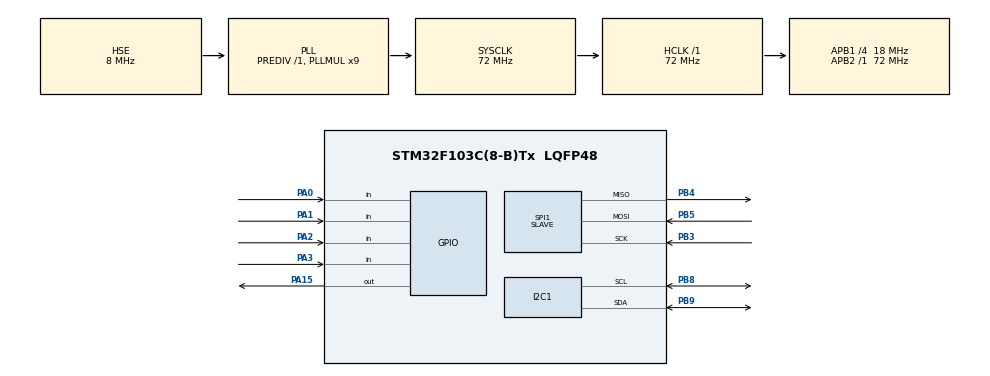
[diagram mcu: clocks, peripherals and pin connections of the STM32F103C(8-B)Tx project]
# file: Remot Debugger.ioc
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Dma.Request0=SPI1_RX
Dma.SPI1_RX.0.Direction=DMA_PERIPH_TO_MEMORY
Dma.SPI1_RX.0.Instance=DMA1_Channel2
Dma.SPI1_RX.0.MemDataAlignment=DMA_MDATAALIGN_BYTE
Dma.SPI1_RX.0.MemInc=DMA_MINC_ENABLE
Dma.SPI1_RX.0.Mode=DMA_CIRCULAR
Dma.SPI1_RX.0.PeriphDataAlignment=DMA_PDATAALIGN_BYTE
Dma.SPI1_RX.0.PeriphInc=DMA_PINC_DISABLE
Dma.SPI1_RX.0.Priority=DMA_PRIORITY_VERY_HIGH
I2C1.I2C_Mode=I2C_Standard
Mcu.Family=STM32F1
Mcu.Name=STM32F103C(8-B)Tx
Mcu.Package=LQFP48
NVIC.DMA1_Channel2_IRQn=true\:0\:0\:false\:false\:true\:false\:true\:true
NVIC.PriorityGroup=NVIC_PRIORITYGROUP_4
NVIC.SPI1_IRQn=true\:0\:0\:false\:false\:true\:true\:true\:true
PA0-WKUP.GPIO_PuPd=GPIO_PULLUP
PA0-WKUP.Signal=GPIO_Input
PA1.GPIO_PuPd=GPIO_PULLUP
PA1.Signal=GPIO_Input
PA13.Mode=Serial_Wire
PA13.Signal=SYS_JTMS-SWDIO
PA14.Mode=Serial_Wire
PA14.Signal=SYS_JTCK-SWCLK
PA15.GPIO_PuPd=GPIO_PULLUP
PA15.Signal=GPIO_Output
PA2.GPIO_PuPd=GPIO_PULLUP
PA2.Signal=GPIO_Input
PA3.GPIO_PuPd=GPIO_PULLUP
PA3.Signal=GPIO_Input
PB3.Mode=Full_Duplex_Slave
PB3.Signal=SPI1_SCK
PB4.Mode=Full_Duplex_Slave
PB4.Signal=SPI1_MISO
PB5.Mode=Full_Duplex_Slave
PB5.Signal=SPI1_MOSI
PB8.Mode=I2C
PB8.Signal=I2C1_SCL
PB9.Mode=I2C
PB9.Signal=I2C1_SDA
PD0-OSC_IN.Mode=HSE-External-Oscillator
PD0-OSC_IN.Signal=RCC_OSC_IN
PD1-OSC_OUT.Mode=HSE-External-Oscillator
PD1-OSC_OUT.Signal=RCC_OSC_OUT
ProjectManager.HeapSize=0x200
ProjectManager.StackSize=0x400
ProjectManager.TargetToolchain=MDK-ARM V5.32
RCC.AHBFreq_Value=72000000
RCC.APB1CLKDivider=RCC_HCLK_DIV4
RCC.APB1Freq_Value=18000000
RCC.APB1TimFreq_Value=36000000
RCC.APB2Freq_Value=72000000
RCC.APB2TimFreq_Value=72000000
RCC.HCLKFreq_Value=72000000
RCC.PLLMUL=RCC_PLL_MUL9
RCC.PLLSourceVirtual=RCC_PLLSOURCE_HSE
RCC.SYSCLKFreq_VALUE=72000000
RCC.SYSCLKSource=RCC_SYSCLKSOURCE_PLLCLK
RCC.USBFreq_Value=72000000
SPI1.Direction=SPI_DIRECTION_2LINES
SPI1.Mode=SPI_MODE_SLAVE
SPI1.VirtualType=VM_SLAVE
board=custom

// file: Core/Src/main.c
/* USER CODE BEGIN Header */
/**
 ******************************************************************************
 * @file           : main.c
 * @brief          : Main program body
 ******************************************************************************
 * @attention
 *
 * Copyright (c) 2024 STMicroelectronics.
 * All rights reserved.
 *
 * This software is licensed under terms that can be found in the LICENSE file
 * in the root directory of this software component.
 * If no LICENSE file comes with this software, it is provided AS-IS.
 *
 ******************************************************************************
 */
/* USER CODE END Header */
#include "main.h"

/* USER CODE BEGIN Includes */
#include "Komunikasi_remot.h"
#include "ee.h"
#include "i2c-lcd.h"
#include <stdio.h>
/* USER CODE END Includes */

/* USER CODE BEGIN PD */

#define MODE_EEPROM 0
#define MODE_REALTIME 1

// #define ADD_EEPROM 0x0801F804
#define ADD_EEPROM_2 0x0801F400
#define ADD_EEPROM_3 0x0801FC00

// Define Port dan Pin Button
#define PORT_BUTTON_PLUS GPIOA
#define PIN_BUTTON_PLUS GPIO_PIN_1
#define PORT_BUTTON_MODE GPIOA
#define PIN_BUTTON_MODE GPIO_PIN_0
#define PORT_BUTTON_CHANGE_CATEGORY GPIOA
#define PIN_BUTTON_CHANGE_CATEGORY GPIO_PIN_2
#define PORT_BUTTON_WRITE_EE GPIOA
#define PIN_BUTTON_WRITE_EE GPIO_PIN_3

HAL_StatusTypeDef status;

// Inisiasi Page
int kategori = 1, page_sensor = 1, page_pos_kaki = 1, page_angle_kaki = 1, mode = MODE_REALTIME;

int i = 0;

handler_angle_kaki angle_kaki;
handler_pos_kaki pos_kaki;
handler_ping ping;
handler_room_step room_step;
handler_gyro gyro;

// uint32_t angle_saved_array[18];

uint8_t angle_saved_array_8bit[72];
uint8_t jarak_gyro_saved_8bit[72];
uint32_t jarak_gyro_array[18];

int count=0;
/* USER CODE END PD */

I2C_HandleTypeDef hi2c1;

SPI_HandleTypeDef hspi1;
DMA_HandleTypeDef hdma_spi1_rx;

void SystemClock_Config(void);
static void MX_GPIO_Init(void);
static void MX_DMA_Init(void);
static void MX_SPI1_Init(void);
static void MX_I2C1_Init(void);
/* USER CODE BEGIN PFP */
void writeToEEPROM()
{

	uint32_t angle_kaki_array[18];

	angle_kaki_array[0] = angle_kaki.coxa_fr;
	angle_kaki_array[1] = angle_kaki.femur_fr;
	angle_kaki_array[2] = angle_kaki.tibia_fr;

	angle_kaki_array[3] = angle_kaki.coxa_mr;
	angle_kaki_array[4] = angle_kaki.femur_mr;
	angle_kaki_array[5] = angle_kaki.tibia_mr;

	angle_kaki_array[6] = angle_kaki.coxa_br;
	angle_kaki_array[7] = angle_kaki.femur_br;
	angle_kaki_array[8] = angle_kaki.tibia_br;

	angle_kaki_array[9] = angle_kaki.coxa_bl;
	angle_kaki_array[10] = angle_kaki.femur_bl;
	angle_kaki_array[11] = angle_kaki.tibia_bl;

	angle_kaki_array[12] = angle_kaki.coxa_ml;
	angle_kaki_array[13] = angle_kaki.femur_ml;
	angle_kaki_array[14] = angle_kaki.tibia_ml;

	angle_kaki_array[15] = angle_kaki.coxa_fl;
	angle_kaki_array[16] = angle_kaki.femur_fl;
	angle_kaki_array[17] = angle_kaki.tibia_fl;

	jarak_gyro_array[0] = (uint64_t)ping.ping_bb;
	jarak_gyro_array[1] = ((uint64_t)ping.ping_bb >> 32) & 0xffffffff;
	jarak_gyro_array[2] = ping.ping_bl & 0xffffffff;
	jarak_gyro_array[3] = (ping.ping_bl >> 32) & 0xffffffff;
	jarak_gyro_array[4] = ping.ping_br & 0xffffffff;
	jarak_gyro_array[5] = (ping.ping_br >> 32) & 0xffffffff;
	jarak_gyro_array[6] = ping.ping_ff & 0xffffffff;
	jarak_gyro_array[7] = (ping.ping_ff >> 32) & 0xffffffff;
	jarak_gyro_array[8] = ping.ping_fl & 0xffffffff;
	jarak_gyro_array[9] = (ping.ping_fl >> 32) & 0xffffffff;
	jarak_gyro_array[10] = ping.ping_fr & 0xffffffff;
	jarak_gyro_array[11] = (ping.ping_fr >> 32) & 0xffffffff;

	jarak_gyro_array[12] = gyro.pitch & 0xffffffff;
	jarak_gyro_array[13] = (gyro.pitch >> 32) & 0xffffffff;
	jarak_gyro_array[14] = gyro.roll & 0xffffffff;
	jarak_gyro_array[15] = (gyro.roll >> 32) & 0xffffffff;
	jarak_gyro_array[16] = gyro.yaw & 0xffffffff;
	jarak_gyro_array[17] = (gyro.yaw >> 32) & 0xffffffff;

	Flash_Write_Data(ADD_EEPROM_2, (uint32_t *)jarak_gyro_array, 18);

	Flash_Write_Data(ADD_EEPROM_3, (uint32_t *)angle_kaki_array, 18);
}

void readFromEE()
{
	//	Flash_Read_Data(ADD_EEPROM_3, angle_saved_array, 19);
	read_flash_memory(ADD_EEPROM_3, angle_saved_array_8bit, 72);
	read_flash_memory(ADD_EEPROM_2, jarak_gyro_saved_8bit, 72);
}

void displayDataOnLCD()
{

	if (HAL_GPIO_ReadPin(PORT_BUTTON_PLUS, PIN_BUTTON_PLUS) == GPIO_PIN_RESET)
	{ // tombol page +
		switch (kategori)
		{
		case 1:
			page_sensor++;
			if (page_sensor > 2)
			{
				page_sensor = 1;
			}
			break;

		case 2:
			page_pos_kaki++;
			if (page_pos_kaki > 6)
			{
				page_pos_kaki = 1;
			}
			break;

		case 4:
			page_angle_kaki++;
			if (page_angle_kaki > 6)
			{
				page_angle_kaki = 1;
			}
			break;
		}

		HAL_Delay(250);
		lcd_clear();
	}

	else if (HAL_GPIO_ReadPin(PORT_BUTTON_MODE, PIN_BUTTON_MODE) == GPIO_PIN_RESET)
	{ // tombol page -
		lcd_clear();
		if (mode == MODE_REALTIME)
		{
			mode = MODE_EEPROM;
			lcd_put_cur(0, 0);
			lcd_send_string("EEPROM");
		}
		else
		{
			mode = MODE_REALTIME;
			lcd_put_cur(0, 0);
			lcd_send_string("REALTIME");
		}
		HAL_Delay(675);
		lcd_clear();
	}

	else if (HAL_GPIO_ReadPin(PORT_BUTTON_CHANGE_CATEGORY, PIN_BUTTON_CHANGE_CATEGORY) == GPIO_PIN_RESET)
	{
		kategori++;
		if (kategori > 5)
		{
			kategori = 1;
		}
		HAL_Delay(250);
		lcd_clear();
	}

	else if (HAL_GPIO_ReadPin(PORT_BUTTON_WRITE_EE, PIN_BUTTON_WRITE_EE) == GPIO_PIN_RESET)
	{
		writeToEEPROM();
		lcd_clear();
		lcd_put_cur(0, 0);
		lcd_send_string("Data Saved");
		HAL_Delay(500);
		lcd_clear();
		readFromEE();
	}

	switch (kategori)
	{
	case 1:
		switch (page_sensor)
		{
		case 1:
			if (mode == MODE_EEPROM)
			{
				// MEMORY
				lcd_put_cur(0, 0);
				lcd_send_string("FL:");
				char ping_fl_str[15];
				uint64_t fl_saved = ((uint64_t)jarak_gyro_saved_8bit[39] << 56) | ((uint64_t)jarak_gyro_saved_8bit[38] << 48) | ((uint64_t)jarak_gyro_saved_8bit[37] << 40) | ((uint64_t)jarak_gyro_saved_8bit[36] << 32) | (jarak_gyro_saved_8bit[35] << 24) | (jarak_gyro_saved_8bit[34] << 16) | (jarak_gyro_saved_8bit[33] << 8) | jarak_gyro_saved_8bit[32];
				sprintf(ping_fl_str, "%.1f", *((double *)&fl_saved));
				lcd_send_string(ping_fl_str);
				lcd_put_cur(1, 0);
				lcd_send_string("BL:");
				char ping_bl_str[15];
				uint64_t bl_saved = ((uint64_t)jarak_gyro_saved_8bit[15] << 56) | ((uint64_t)jarak_gyro_saved_8bit[14] << 48) | ((uint64_t)jarak_gyro_saved_8bit[13] << 40) | ((uint64_t)jarak_gyro_saved_8bit[12] << 32) | (jarak_gyro_saved_8bit[11] << 24) | (jarak_gyro_saved_8bit[10] << 16) | (jarak_gyro_saved_8bit[9] << 8) | jarak_gyro_saved_8bit[8];
				sprintf(ping_bl_str, "%.1f", *((double *)&bl_saved));
				lcd_send_string(ping_bl_str);
				lcd_put_cur(0, 8);
				lcd_send_string("FR:");
				char ping_fr_str[15];
				uint64_t fr_saved = ((uint64_t)jarak_gyro_saved_8bit[47] << 56) | ((uint64_t)jarak_gyro_saved_8bit[46] << 48) | ((uint64_t)jarak_gyro_saved_8bit[45] << 40) | ((uint64_t)jarak_gyro_saved_8bit[44] << 32) | (jarak_gyro_saved_8bit[43] << 24) | (jarak_gyro_saved_8bit[42] << 16) | (jarak_gyro_saved_8bit[41] << 8) | jarak_gyro_saved_8bit[40];
				sprintf(ping_fr_str, "%.1f", *((double *)&fr_saved));
				lcd_send_string(ping_fr_str);
				lcd_put_cur(1, 8);
				lcd_send_string("BR:");
				char ping_br_str[15];
				uint64_t br_saved = ((uint64_t)jarak_gyro_saved_8bit[23] << 56) | ((uint64_t)jarak_gyro_saved_8bit[22] << 48) | ((uint64_t)jarak_gyro_saved_8bit[21] << 40) | ((uint64_t)jarak_gyro_saved_8bit[20] << 32) | (jarak_gyro_saved_8bit[19] << 24) | (jarak_gyro_saved_8bit[18] << 16) | (jarak_gyro_saved_8bit[17] << 8) | jarak_gyro_saved_8bit[16];
				sprintf(ping_br_str, "%.1f", *((double *)&br_saved));
				lcd_send_string(ping_br_str);
			}
			else
			{
				lcd_put_cur(0, 0);
				lcd_send_string("FL:");
				char ping_fl_str[15];
				sprintf(ping_fl_str, "%.1f", *((double *)&ping.ping_fl));
				lcd_send_string(ping_fl_str);
				lcd_put_cur(1, 0);
				lcd_send_string("BL:");
				char ping_bl_str[15];
				sprintf(ping_bl_str, "%.1f", *((double *)&ping.ping_bl));
				lcd_send_string(ping_bl_str);
				lcd_put_cur(0, 8);
				lcd_send_string("FR:");
				char ping_fr_str[15];
				sprintf(ping_fr_str, "%.1f", *((double *)&ping.ping_fr));
				lcd_send_string(ping_fr_str);
				lcd_put_cur(1, 8);
				lcd_send_string("BR:");
				char ping_br_str[15];
				sprintf(ping_br_str, "%.1f", *((double *)&ping.ping_br));
				lcd_send_string(ping_br_str);
				count++;
			}
			break;

		case 2:
			if (mode == MODE_EEPROM)
			{
				lcd_put_cur(0, 0);
				lcd_send_string("FF:");
				char ping_ff_str[15];
				uint64_t ff_saved = ((uint64_t)jarak_gyro_saved_8bit[31] << 56) | ((uint64_t)jarak_gyro_saved_8bit[30] << 48) | ((uint64_t)jarak_gyro_saved_8bit[29] << 40) | ((uint64_t)jarak_gyro_saved_8bit[28] << 32) | (jarak_gyro_saved_8bit[27] << 24) | (jarak_gyro_saved_8bit[26] << 16) | (jarak_gyro_saved_8bit[25] << 8) | jarak_gyro_saved_8bit[24];
				sprintf(ping_ff_str, "%.1f", *((double *)&ff_saved));
				lcd_send_string(ping_ff_str);
				lcd_put_cur(1, 0);
				lcd_send_string("BB:");
				char ping_bb_str[15];
				uint64_t bb_saved = ((uint64_t)jarak_gyro_saved_8bit[7] << 56) | ((uint64_t)jarak_gyro_saved_8bit[6] << 48) | ((uint64_t)jarak_gyro_saved_8bit[5] << 40) | ((uint64_t)jarak_gyro_saved_8bit[4] << 32) | (jarak_gyro_saved_8bit[3] << 24) | (jarak_gyro_saved_8bit[2] << 16) | (jarak_gyro_saved_8bit[1] << 8) | jarak_gyro_saved_8bit[0];
				sprintf(ping_bb_str, "%.1f", *((double *)&bb_saved));
				lcd_send_string(ping_bb_str);
			}
			else
			{
				lcd_put_cur(0, 0);
				lcd_send_string("FF:");
				char ping_ff_str[15];
				sprintf(ping_ff_str, "%.1f", *((double *)&ping.ping_ff));
				lcd_send_string(ping_ff_str);
				lcd_put_cur(1, 0);
				lcd_send_string("BB:");
				char ping_bb_str[15];
				sprintf(ping_bb_str, "%.1f", *((double *)&ping.ping_bb));
				lcd_send_string(ping_bb_str);
			}

			break;
		}
		break;

	case 2:
		switch (page_pos_kaki)
		{
		case 1:
			lcd_put_cur(0, 0);
			lcd_send_string("FR");
			lcd_put_cur(0, 8);
			lcd_send_string("X:");
			char kaki_fr_x_str[20];
			sprintf(kaki_fr_x_str, "%.1f", *((double *)&pos_kaki.x_fr));
			lcd_send_string(kaki_fr_x_str);
			lcd_put_cur(1, 0);
			lcd_send_string("Y:");
			char kaki_fr_y_str[20];
			sprintf(kaki_fr_y_str, "%.1f", *((double *)&pos_kaki.y_fr));
			lcd_send_string(kaki_fr_y_str);
			lcd_put_cur(1, 8);
			lcd_send_string("Z:");
			char kaki_fr_z_str[20];
			sprintf(kaki_fr_z_str, "%.1f", *((double *)&pos_kaki.z_fr));
			lcd_send_string(kaki_fr_z_str);
			break;
		case 2:
			lcd_put_cur(0, 0);
			lcd_send_string("MR");
			lcd_put_cur(0, 8);
			lcd_send_string("X:");
			char kaki_mr_x_str[20];
			sprintf(kaki_mr_x_str, "%.1f", *((double *)&pos_kaki.x_mr));
			lcd_send_string(kaki_mr_x_str);
			lcd_put_cur(1, 0);
			lcd_send_string("Y:");
			char kaki_mr_y_str[20];
			sprintf(kaki_mr_y_str, "%.1f", *((double *)&pos_kaki.y_mr));
			lcd_send_string(kaki_mr_y_str);
			lcd_put_cur(1, 8);
			lcd_send_string("Z:");
			char kaki_mr_z_str[20];
			sprintf(kaki_mr_z_str, "%.1f", *((double *)&pos_kaki.z_mr));
			lcd_send_string(kaki_mr_z_str);
			break;
		case 3:
			lcd_put_cur(0, 0);
			lcd_send_string("BR");
			lcd_put_cur(0, 8);
			lcd_send_string("X:");
			char kaki_br_x_str[20];
			sprintf(kaki_br_x_str, "%.1f", *((double *)&pos_kaki.x_br));
			lcd_send_string(kaki_br_x_str);
			lcd_put_cur(1, 0);
			lcd_send_string("Y:");
			char kaki_br_y_str[20];
			sprintf(kaki_br_y_str, "%.1f", *((double *)&pos_kaki.y_br));
			lcd_send_string(kaki_br_y_str);
			lcd_put_cur(1, 8);
			lcd_send_string("Z:");
			char kaki_br_z_str[20];
			sprintf(kaki_br_z_str, "%.1f", *((double *)&pos_kaki.z_br));
			lcd_send_string(kaki_br_z_str);
			break;
		case 4:
			lcd_put_cur(0, 0);
			lcd_send_string("BL");
			lcd_put_cur(0, 8);
			lcd_send_string("X:");
			char kaki_bl_x_str[20];
			sprintf(kaki_bl_x_str, "%.1f", *((double *)&pos_kaki.x_bl));
			lcd_send_string(kaki_bl_x_str);
			lcd_put_cur(1, 0);
			lcd_send_string("Y:");
			char kaki_bl_y_str[20];
			sprintf(kaki_bl_y_str, "%.1f", *((double *)&pos_kaki.y_bl));
			lcd_send_string(kaki_bl_y_str);
			lcd_put_cur(1, 8);
			lcd_send_string("Z:");
			char kaki_bl_z_str[20];
			sprintf(kaki_bl_z_str, "%.1f", *((double *)&pos_kaki.z_bl));
			lcd_send_string(kaki_bl_z_str);
			break;
		case 5:
			lcd_put_cur(0, 0);
			lcd_send_string("ML");
			lcd_put_cur(0, 8);
			lcd_send_string("X:");
			char kaki_ml_x_str[20];
			sprintf(kaki_ml_x_str, "%.1f", *((double *)&pos_kaki.x_ml));
			lcd_send_string(kaki_ml_x_str);
			lcd_put_cur(1, 0);
			lcd_send_string("Y:");
			char kaki_ml_y_str[20];
			sprintf(kaki_ml_y_str, "%.1f", *((double *)&pos_kaki.y_ml));
			lcd_send_string(kaki_ml_y_str);
			lcd_put_cur(1, 8);
			lcd_send_string("Z:");
			char kaki_ml_z_str[20];
			sprintf(kaki_ml_z_str, "%.1f", *((double *)&pos_kaki.z_ml));
			lcd_send_string(kaki_ml_z_str);
			break;
		case 6:
			lcd_put_cur(0, 0);
			lcd_send_string("FL");
			lcd_put_cur(0, 8);
			lcd_send_string("X:");
			char kaki_fl_x_str[20];
			sprintf(kaki_fl_x_str, "%.1f", *((double *)&pos_kaki.x_fl));
			lcd_send_string(kaki_fl_x_str);
			lcd_put_cur(1, 0);
			lcd_send_string("Y:");
			char kaki_fl_y_str[20];
			sprintf(kaki_fl_y_str, "%.1f", *((double *)&pos_kaki.y_fl));
			lcd_send_string(kaki_fl_y_str);
			lcd_put_cur(1, 8);
			lcd_send_string("Z:");
			char kaki_fl_z_str[20];
			sprintf(kaki_fl_z_str, "%.1f", *((double *)&pos_kaki.z_fl));
			lcd_send_string(kaki_fl_z_str);
			break;
		}
		break;

	case 3:
		lcd_put_cur(0, 0);
		lcd_send_string("Room:");
		char ruang_str[20];
		sprintf(ruang_str, "%u", *((uint8_t *)&room_step.room));
		lcd_send_string(ruang_str);

		lcd_put_cur(1, 0);
		lcd_send_string("Step:");
		char flag_str[20];
		sprintf(flag_str, "%u", *((uint8_t *)&room_step.step));
		lcd_send_string(flag_str);
		break;

	case 4:
		switch (page_angle_kaki)
		{
		case 1:
			lcd_put_cur(0, 0);
			lcd_send_string("FR");
			lcd_put_cur(0, 8);
			lcd_send_string("C:");
			char kaki_fr_c_str[20];
			uint32_t fr_c = angle_saved_array_8bit[3] << 24 | (angle_saved_array_8bit[2] << 16) | (angle_saved_array_8bit[1] << 8) | angle_saved_array_8bit[0];
			sprintf(kaki_fr_c_str, "%d", *((int *)&fr_c));
			lcd_send_string(kaki_fr_c_str);
			lcd_put_cur(1, 0);
			lcd_send_string("F:");
			char kaki_fr_f_str[20];
			uint32_t fr_f = angle_saved_array_8bit[7] << 24 | (angle_saved_array_8bit[6] << 16) | (angle_saved_array_8bit[5] << 8) | angle_saved_array_8bit[4];
			sprintf(kaki_fr_f_str, "%d", *((int *)&fr_f));
			lcd_send_string(kaki_fr_f_str);
			lcd_put_cur(1, 8);
			lcd_send_string("T:");
			char kaki_fr_t_str[20];
			uint32_t fr_t = angle_saved_array_8bit[11] << 24 | (angle_saved_array_8bit[10] << 16) | (angle_saved_array_8bit[9] << 8) | angle_saved_array_8bit[8];
			sprintf(kaki_fr_t_str, "%d", *((int *)&fr_t));
			lcd_send_string(kaki_fr_t_str);
			break;
		case 2:
			lcd_put_cur(0, 0);
			lcd_send_string("MR");
			lcd_put_cur(0, 8);
			lcd_send_string("C:");
			char kaki_mr_c_str[20];
			uint32_t mr_c = angle_saved_array_8bit[15] << 24 | (angle_saved_array_8bit[14] << 16) | (angle_saved_array_8bit[13] << 8) | angle_saved_array_8bit[12];
			sprintf(kaki_mr_c_str, "%d", *((int *)&mr_c));
			lcd_send_string(kaki_mr_c_str);
			lcd_put_cur(1, 0);
			lcd_send_string("F:");
			char kaki_mr_f_str[20];
			uint32_t mr_f = angle_saved_array_8bit[19] << 24 | (angle_saved_array_8bit[18] << 16) | (angle_saved_array_8bit[17] << 8) | angle_saved_array_8bit[16];
			sprintf(kaki_mr_f_str, "%d", *((int *)&mr_f));
			lcd_send_string(kaki_mr_f_str);
			lcd_put_cur(1, 8);
			lcd_send_string("T:");
			char kaki_mr_t_str[20];
			uint32_t mr_t = angle_saved_array_8bit[23] << 24 | (angle_saved_array_8bit[22] << 16) | (angle_saved_array_8bit[21] << 8) | angle_saved_array_8bit[20];
			sprintf(kaki_mr_t_str, "%d", *((int *)&mr_t));
			lcd_send_string(kaki_mr_t_str);
			break;
		case 3:
			lcd_put_cur(0, 0);
			lcd_send_string("BR");
			lcd_put_cur(0, 8);
			lcd_send_string("C:");
			char kaki_br_c_str[20];
			uint32_t br_c = angle_saved_array_8bit[27] << 24 | (angle_saved_array_8bit[26] << 16) | (angle_saved_array_8bit[25] << 8) | angle_saved_array_8bit[24];
			sprintf(kaki_br_c_str, "%d", *((int *)&br_c));
			lcd_send_string(kaki_br_c_str);
			lcd_put_cur(1, 0);
			lcd_send_string("F:");
			char kaki_br_f_str[20];
			uint32_t br_f = angle_saved_array_8bit[31] << 24 | (angle_saved_array_8bit[30] << 16) | (angle_saved_array_8bit[29] << 8) | angle_saved_array_8bit[28];
			sprintf(kaki_br_f_str, "%d", *((int *)&br_f));
			lcd_send_string(kaki_br_f_str);
			lcd_put_cur(1, 8);
			lcd_send_string("T:");
			char kaki_br_t_str[20];
			uint32_t br_t = angle_saved_array_8bit[35] << 24 | (angle_saved_array_8bit[34] << 16) | (angle_saved_array_8bit[33] << 8) | angle_saved_array_8bit[32];
			sprintf(kaki_br_t_str, "%d", *((int *)&br_t));
			lcd_send_string(kaki_br_t_str);
			break;
		case 4:
			lcd_put_cur(0, 0);
			lcd_send_string("BL");
			lcd_put_cur(0, 8);
			lcd_send_string("C:");
			char kaki_bl_c_str[20];
			uint32_t bl_c = angle_saved_array_8bit[39] << 24 | (angle_saved_array_8bit[38] << 16) | (angle_saved_array_8bit[37] << 8) | angle_saved_array_8bit[36];
			sprintf(kaki_bl_c_str, "%d", *((int *)&bl_c));
			lcd_send_string(kaki_bl_c_str);
			lcd_put_cur(1, 0);
			lcd_send_string("F:");
			char kaki_bl_f_str[20];
			uint32_t bl_f = angle_saved_array_8bit[43] << 24 | (angle_saved_array_8bit[42] << 16) | (angle_saved_array_8bit[41] << 8) | angle_saved_array_8bit[40];
			sprintf(kaki_bl_f_str, "%d", *((int *)&bl_f));
			lcd_send_string(kaki_bl_f_str);
			lcd_put_cur(1, 8);
			lcd_send_string("T:");
			char kaki_bl_t_str[20];
			uint32_t bl_t = angle_saved_array_8bit[47] << 24 | (angle_saved_array_8bit[46] << 16) | (angle_saved_array_8bit[45] << 8) | angle_saved_array_8bit[44];
			sprintf(kaki_bl_t_str, "%d", *((int *)&bl_t));
			lcd_send_string(kaki_bl_t_str);
			break;
		case 5:
			lcd_put_cur(0, 0);
			lcd_send_string("ML");
			lcd_put_cur(0, 8);
			lcd_send_string("C:");
			char kaki_ml_c_str[20];
			uint32_t ml_c = angle_saved_array_8bit[51] << 24 | (angle_saved_array_8bit[50] << 16) | (angle_saved_array_8bit[49] << 8) | angle_saved_array_8bit[48];
			sprintf(kaki_ml_c_str, "%d", *((int *)&ml_c));
			lcd_send_string(kaki_ml_c_str);
			lcd_put_cur(1, 0);
			lcd_send_string("F:");
			char kaki_ml_f_str[20];
			uint32_t ml_f = angle_saved_array_8bit[55] << 24 | (angle_saved_array_8bit[54] << 16) | (angle_saved_array_8bit[53] << 8) | angle_saved_array_8bit[52];
			sprintf(kaki_ml_f_str, "%d", *((int *)&ml_f));
			lcd_send_string(kaki_ml_f_str);
			lcd_put_cur(1, 8);
			lcd_send_string("T:");
			char kaki_ml_t_str[20];
			uint32_t ml_t = angle_saved_array_8bit[59] << 24 | (angle_saved_array_8bit[58] << 16) | (angle_saved_array_8bit[57] << 8) | angle_saved_array_8bit[56];
			sprintf(kaki_ml_t_str, "%d", *((int *)&ml_t));
			lcd_send_string(kaki_ml_t_str);
			break;
		case 6:
			lcd_put_cur(0, 0);
			lcd_send_string("FL");
			lcd_put_cur(0, 8);
			lcd_send_string("C:");
			char kaki_fl_c_str[20];
			uint32_t fl_c = angle_saved_array_8bit[63] << 24 | (angle_saved_array_8bit[62] << 16) | (angle_saved_array_8bit[61] << 8) | angle_saved_array_8bit[60];
			sprintf(kaki_fl_c_str, "%d", *((int *)&fl_c));
			lcd_send_string(kaki_fl_c_str);
			lcd_put_cur(1, 0);
			lcd_send_string("F:");
			char kaki_fl_f_str[20];
			uint32_t fl_f = angle_saved_array_8bit[67] << 24 | (angle_saved_array_8bit[66] << 16) | (angle_saved_array_8bit[65] << 8) | angle_saved_array_8bit[64];
			sprintf(kaki_fl_f_str, "%d", *((int *)&fl_f));
			lcd_send_string(kaki_fl_f_str);
			lcd_put_cur(1, 8);
			lcd_send_string("T:");
			char kaki_fl_t_str[20];
			uint32_t fl_t = angle_saved_array_8bit[71] << 24 | (angle_saved_array_8bit[70] << 16) | (angle_saved_array_8bit[69] << 8) | angle_saved_array_8bit[68];
			sprintf(kaki_fl_t_str, "%d", *((int *)&fl_t));
			lcd_send_string(kaki_fl_t_str);
			break;
		}
		break;

	case 5:
		if (mode == MODE_REALTIME)
		{
			lcd_put_cur(0, 0);
			lcd_send_string("GYRO");
			lcd_put_cur(0, 8);
			lcd_send_string("R:");
			char gyro_r[20];
			sprintf(gyro_r, "%.1f", *((double *)&gyro.roll));
			lcd_send_string(gyro_r);
			lcd_put_cur(1, 0);
			lcd_send_string("P:");
			char gyro_p[20];
			sprintf(gyro_p, "%.1f", *((double *)&gyro.pitch));
			lcd_send_string(gyro_p);
			lcd_put_cur(1, 8);
			lcd_send_string("Y:");
			char gyro_y[20];
			sprintf(gyro_y, "%.1f", *((double *)&gyro.yaw));
			lcd_send_string(gyro_y);
		}
		else
		{
			lcd_put_cur(0, 0);
			lcd_send_string("GYRO");
			lcd_put_cur(0, 8);
			lcd_send_string("R:");
			char gyro_r[20];
			uint64_t roll_saved = ((uint64_t)jarak_gyro_saved_8bit[55] << 56) | ((uint64_t)jarak_gyro_saved_8bit[54] << 48) | ((uint64_t)jarak_gyro_saved_8bit[53] << 40) | ((uint64_t)jarak_gyro_saved_8bit[52] << 32) | (jarak_gyro_saved_8bit[51] << 24) | (jarak_gyro_saved_8bit[50] << 16) | (jarak_gyro_saved_8bit[49] << 8) | jarak_gyro_saved_8bit[48];
			sprintf(gyro_r, "%.1f", *((double *)&roll_saved));
			lcd_send_string(gyro_r);
			lcd_put_cur(1, 0);
			lcd_send_string("P:");
			char gyro_p[20];
			uint64_t pitch_saved = ((uint64_t)jarak_gyro_saved_8bit[63] << 56) | ((uint64_t)jarak_gyro_saved_8bit[62] << 48) | ((uint64_t)jarak_gyro_saved_8bit[61] << 40) | ((uint64_t)jarak_gyro_saved_8bit[60] << 32) | (jarak_gyro_saved_8bit[59] << 24) | (jarak_gyro_saved_8bit[58] << 16) | (jarak_gyro_saved_8bit[57] << 8) | jarak_gyro_saved_8bit[56];
			sprintf(gyro_p, "%.1f", *((double *)&pitch_saved));
			lcd_send_string(gyro_p);
			lcd_put_cur(1, 8);
			lcd_send_string("Y:");
			char gyro_y[20];
			uint64_t yaw_saved = ((uint64_t)jarak_gyro_saved_8bit[71] << 56) | ((uint64_t)jarak_gyro_saved_8bit[70] << 48) | ((uint64_t)jarak_gyro_saved_8bit[69] << 40) | ((uint64_t)jarak_gyro_saved_8bit[68] << 32) | (jarak_gyro_saved_8bit[67] << 24) | (jarak_gyro_saved_8bit[66] << 16) | (jarak_gyro_saved_8bit[65] << 8) | jarak_gyro_saved_8bit[64];
			sprintf(gyro_y, "%.1f", *((double *)&yaw_saved));
			lcd_send_string(gyro_y);
		}
		break;
	}
}
/* USER CODE END PFP */

/* USER CODE BEGIN 0 */
uint8_t data[5];

void HAL_SPI_RxCpltCallback(SPI_HandleTypeDef *hspi1)
{
	receive_all(&ping, &pos_kaki, &angle_kaki, &gyro, &room_step);
}

HAL_StatusTypeDef status;

/* USER CODE END 0 */

int main(void)
{

  /* MCU Configuration--------------------------------------------------------*/

  /* Reset of all peripherals, Initializes the Flash interface and the Systick. */
  HAL_Init();

  /* Configure the system clock */
  SystemClock_Config();

  /* Initialize all configured peripherals */
  MX_GPIO_Init();
  MX_DMA_Init();
  MX_SPI1_Init();
  MX_I2C1_Init();
  /* USER CODE BEGIN 2 */
	HAL_GPIO_WritePin(GPIOA, GPIO_PIN_15, GPIO_PIN_RESET);

	lcd_init(&hi2c1);

	komunikasi_remot_init(&hspi1);

	//readFromEE();

	receive_all(&ping, &pos_kaki, &angle_kaki, &gyro, &room_step);

  /* USER CODE END 2 */

  /* Infinite loop */
  /* USER CODE BEGIN WHILE */
	while (1)
	{
		//receive_all(&ping, &pos_kaki, &angle_kaki, &gyro, &room_step);
		displayDataOnLCD();
    /* USER CODE END WHILE */

	}
}

void SystemClock_Config(void)
{
  RCC_OscInitTypeDef RCC_OscInitStruct = {0};
  RCC_ClkInitTypeDef RCC_ClkInitStruct = {0};

  /** Initializes the RCC Oscillators according to the specified parameters
  * in the RCC_OscInitTypeDef structure.
  */
  RCC_OscInitStruct.OscillatorType = RCC_OSCILLATORTYPE_HSE;
  RCC_OscInitStruct.HSEState = RCC_HSE_ON;
  RCC_OscInitStruct.HSEPredivValue = RCC_HSE_PREDIV_DIV1;
  RCC_OscInitStruct.HSIState = RCC_HSI_ON;
  RCC_OscInitStruct.PLL.PLLState = RCC_PLL_ON;
  RCC_OscInitStruct.PLL.PLLSource = RCC_PLLSOURCE_HSE;
  RCC_OscInitStruct.PLL.PLLMUL = RCC_PLL_MUL9;
  if (HAL_RCC_OscConfig(&RCC_OscInitStruct) != HAL_OK)
  {
    Error_Handler();
  }

  /** Initializes the CPU, AHB and APB buses clocks
  */
  RCC_ClkInitStruct.ClockType = RCC_CLOCKTYPE_HCLK|RCC_CLOCKTYPE_SYSCLK
                              |RCC_CLOCKTYPE_PCLK1|RCC_CLOCKTYPE_PCLK2;
  RCC_ClkInitStruct.SYSCLKSource = RCC_SYSCLKSOURCE_PLLCLK;
  RCC_ClkInitStruct.AHBCLKDivider = RCC_SYSCLK_DIV1;
  RCC_ClkInitStruct.APB1CLKDivider = RCC_HCLK_DIV4;
  RCC_ClkInitStruct.APB2CLKDivider = RCC_HCLK_DIV1;

  if (HAL_RCC_ClockConfig(&RCC_ClkInitStruct, FLASH_LATENCY_2) != HAL_OK)
  {
    Error_Handler();
  }
}

static void MX_I2C1_Init(void)
{

  hi2c1.Instance = I2C1;
  hi2c1.Init.ClockSpeed = 100000;
  hi2c1.Init.DutyCycle = I2C_DUTYCYCLE_2;
  hi2c1.Init.OwnAddress1 = 0;
  hi2c1.Init.AddressingMode = I2C_ADDRESSINGMODE_7BIT;
  hi2c1.Init.DualAddressMode = I2C_DUALADDRESS_DISABLE;
  hi2c1.Init.OwnAddress2 = 0;
  hi2c1.Init.GeneralCallMode = I2C_GENERALCALL_DISABLE;
  hi2c1.Init.NoStretchMode = I2C_NOSTRETCH_DISABLE;
  if (HAL_I2C_Init(&hi2c1) != HAL_OK)
  {
    Error_Handler();
  }

}

static void MX_SPI1_Init(void)
{

  /* SPI1 parameter configuration*/
  hspi1.Instance = SPI1;
  hspi1.Init.Mode = SPI_MODE_SLAVE;
  hspi1.Init.Direction = SPI_DIRECTION_2LINES;
  hspi1.Init.DataSize = SPI_DATASIZE_8BIT;
  hspi1.Init.CLKPolarity = SPI_POLARITY_LOW;
  hspi1.Init.CLKPhase = SPI_PHASE_1EDGE;
  hspi1.Init.NSS = SPI_NSS_SOFT;
  hspi1.Init.FirstBit = SPI_FIRSTBIT_MSB;
  hspi1.Init.TIMode = SPI_TIMODE_DISABLE;
  hspi1.Init.CRCCalculation = SPI_CRCCALCULATION_DISABLE;
  hspi1.Init.CRCPolynomial = 10;
  if (HAL_SPI_Init(&hspi1) != HAL_OK)
  {
    Error_Handler();
  }

}

static void MX_DMA_Init(void)
{

  /* DMA controller clock enable */
  __HAL_RCC_DMA1_CLK_ENABLE();

  /* DMA interrupt init */
  /* DMA1_Channel2_IRQn interrupt configuration */
  HAL_NVIC_SetPriority(DMA1_Channel2_IRQn, 0, 0);
  HAL_NVIC_EnableIRQ(DMA1_Channel2_IRQn);

}

static void MX_GPIO_Init(void)
{
  GPIO_InitTypeDef GPIO_InitStruct = {0};

  /* GPIO Ports Clock Enable */
  __HAL_RCC_GPIOD_CLK_ENABLE();
  __HAL_RCC_GPIOA_CLK_ENABLE();
  __HAL_RCC_GPIOB_CLK_ENABLE();

  /*Configure GPIO pin Output Level */
  HAL_GPIO_WritePin(GPIOA, GPIO_PIN_15, GPIO_PIN_RESET);

  /*Configure GPIO pins : PA0 PA1 PA2 PA3 */
  GPIO_InitStruct.Pin = GPIO_PIN_0|GPIO_PIN_1|GPIO_PIN_2|GPIO_PIN_3;
  GPIO_InitStruct.Mode = GPIO_MODE_INPUT;
  GPIO_InitStruct.Pull = GPIO_PULLUP;
  HAL_GPIO_Init(GPIOA, &GPIO_InitStruct);

  /*Configure GPIO pin : PA15 */
  GPIO_InitStruct.Pin = GPIO_PIN_15;
  GPIO_InitStruct.Mode = GPIO_MODE_OUTPUT_PP;
  GPIO_InitStruct.Pull = GPIO_PULLUP;
  GPIO_InitStruct.Speed = GPIO_SPEED_FREQ_LOW;
  HAL_GPIO_Init(GPIOA, &GPIO_InitStruct);

}

void Error_Handler(void)
{
	__disable_irq();
	while (1)
	{
	}
}
